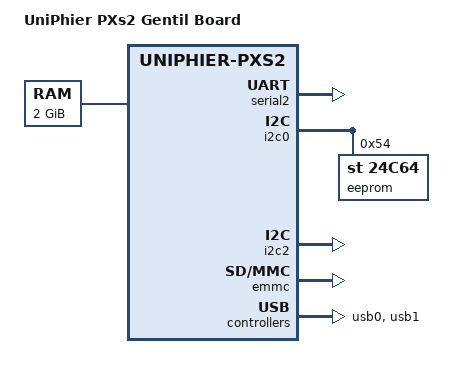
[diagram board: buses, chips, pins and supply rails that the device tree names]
/*
 * Device Tree Source for UniPhier PXs2 Gentil Board
 *
 * Copyright (C) 2015-2016 Socionext Inc.
 *   Author: Masahiro Yamada <yamada.masahiro@socionext.com>
 *
 * SPDX-License-Identifier:	GPL-2.0+
 */

/dts-v1/;
/include/ "uniphier-pxs2.dtsi"

/ {
	model = "UniPhier PXs2 Gentil Board";
	compatible = "socionext,uniphier-pxs2-gentil",
		     "socionext,uniphier-pxs2";

	chosen {
		stdout-path = "serial0:115200n8";
	};

	aliases {
		serial0 = &serial2;
		serial1 = &serial0;
		serial2 = &serial1;
		i2c0 = &i2c0;
		i2c2 = &i2c2;
		i2c4 = &i2c4;
		i2c5 = &i2c5;
		i2c6 = &i2c6;
	};

	memory@80000000 {
		device_type = "memory";
		reg = <0x80000000 0x80000000>;
	};
};

&serial2 {
	status = "okay";
};

&i2c0 {
	status = "okay";

	eeprom@54 {
		compatible = "st,24c64", "i2c-eeprom";
		reg = <0x54>;
		pagesize = <32>;
		u-boot,i2c-offset-len = <2>;
	};
};

&i2c2 {
	status = "okay";
};

&emmc {
	status = "okay";
};

&usb0 {
	status = "okay";
};

&usb1 {
	status = "okay";
};

/* for U-Boot only */
&serial2 {
	u-boot,dm-pre-reloc;
};

&sd_clk {
	u-boot,dm-pre-reloc;
};

&emmc {
	u-boot,dm-pre-reloc;
};

&pinctrl_uart2 {
	u-boot,dm-pre-reloc;
};

&pinctrl_emmc {
	u-boot,dm-pre-reloc;
};
